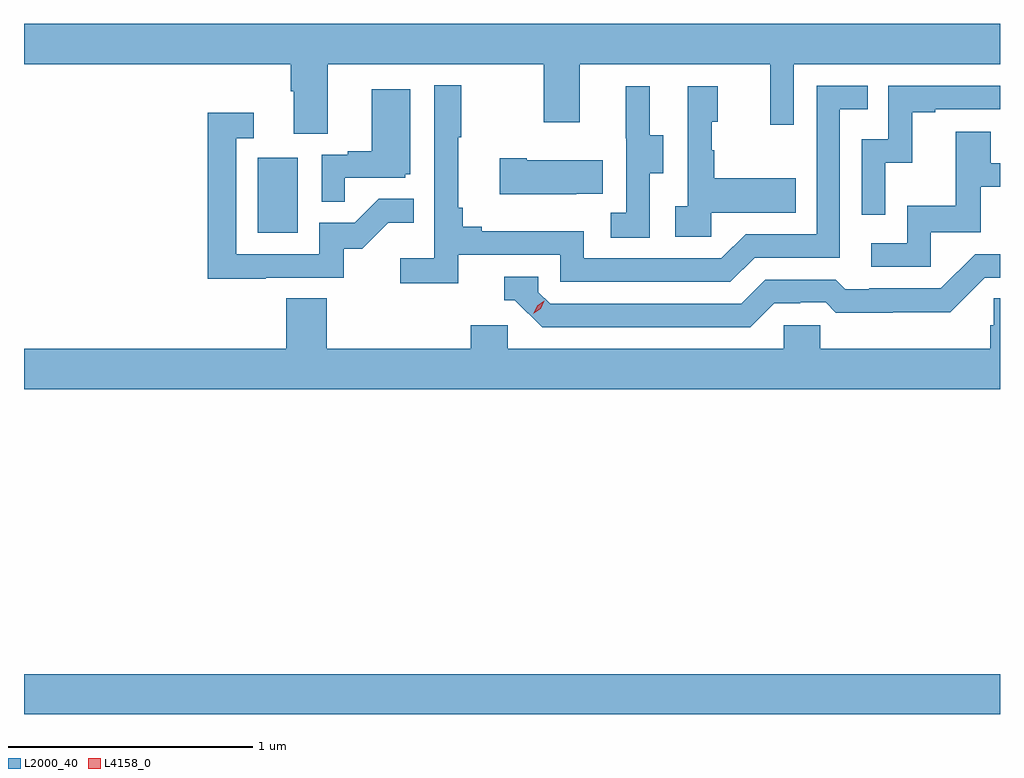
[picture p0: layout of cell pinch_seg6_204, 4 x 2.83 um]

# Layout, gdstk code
import gdstk
lib = gdstk.Library(unit=1e-6, precision=1e-09)
def R(c, l, rs):  # rectangles x0, y0, x1, y1
    for r in rs: c.add(gdstk.rectangle(r[:2], r[2:], *l))
def P(c, l, *ps):  # polygons
    for p in ps: c.add(gdstk.Polygon(p, *l))
L2000_40 = (2000, 40)
L4158_0 = (4158, 0)

pinch_seg6_204 = lib.new_cell('pinch_seg6_204')
R(pinch_seg6_204, L2000_40, [(1052.806,918.032,1056.806,918.196), (1053.764,920.004,1053.928,920.311)])
P(pinch_seg6_204, L2000_40, [(1054.051,920.696),(1054.936,920.696),(1054.936,920.457),(1055.083,920.457),(1055.083,920.696),(1055.864,920.696),(1055.864,920.448),(1055.961,920.448),(1055.961,920.696),(1056.806,920.696),(1056.806,920.86),(1052.806,920.86),(1052.806,920.696),(1053.899,920.696),(1053.899,920.584),(1053.911,920.584),(1053.911,920.41),(1054.051,920.41)],
  [(1054.586,919.914),(1055.004,919.914),(1055.004,919.803),(1055.701,919.803),(1055.8,919.902),(1056.15,919.902),(1056.15,920.511),(1056.263,920.511),(1056.263,920.607),(1056.054,920.607),(1056.054,919.998),(1055.763,919.998),(1055.664,919.899),(1055.1,919.899),(1055.1,920.011),(1054.681,920.011),(1054.681,920.03),(1054.604,920.03),(1054.604,920.107),(1054.585,920.107),(1054.585,920.395),(1054.597,920.395),(1054.597,920.608),(1054.488,920.608),(1054.488,919.9),(1054.347,919.9),(1054.347,919.798),(1054.586,919.798)],
  [(1056.336,920.291),(1056.446,920.291),(1056.446,920.499),(1056.541,920.499),(1056.541,920.511),(1056.806,920.511),(1056.806,920.607),(1056.348,920.607),(1056.348,920.388),(1056.24,920.388),(1056.24,920.079),(1056.336,920.079)],
  [(1055.37,920.248),(1055.425,920.248),(1055.425,920.403),(1055.371,920.403),(1055.371,920.605),(1055.273,920.605),(1055.273,920.391),(1055.274,920.391),(1055.274,920.087),(1055.211,920.087),(1055.211,919.984),(1055.37,919.984)],
  [(1055.622,920.087),(1055.969,920.087),(1055.969,920.227),(1055.635,920.227),(1055.635,920.342),(1055.625,920.342),(1055.625,920.46),(1055.65,920.46),(1055.65,920.605),(1055.526,920.605),(1055.526,920.114),(1055.475,920.114),(1055.475,919.989),(1055.622,919.989)],
  [(1054.121,920.229),(1054.368,920.229),(1054.368,920.244),(1054.39,920.244),(1054.39,920.593),(1054.232,920.593),(1054.232,920.338),(1054.133,920.338),(1054.133,920.325),(1054.026,920.325),(1054.026,920.131),(1054.121,920.131)],
  [(1053.797,919.821),(1054.116,919.821),(1054.116,919.938),(1054.192,919.938),(1054.299,920.045),(1054.403,920.045),(1054.403,920.144),(1054.259,920.144),(1054.161,920.046),(1054.017,920.046),(1054.017,919.917),(1053.675,919.917),(1053.675,920.391),(1053.748,920.391),(1053.748,920.497),(1053.559,920.497),(1053.559,919.816),(1053.797,919.816)],
  [(1056.522,920.007),(1056.727,920.007),(1056.727,920.193),(1056.806,920.193),(1056.806,920.289),(1056.769,920.289),(1056.769,920.419),(1056.625,920.419),(1056.625,920.116),(1056.426,920.116),(1056.426,919.962),(1056.279,919.962),(1056.279,919.866),(1056.522,919.866)],
  [(1055.069,920.165),(1055.177,920.165),(1055.177,920.302),(1054.867,920.302),(1054.867,920.31),(1054.755,920.31),(1054.755,920.162),(1055.069,920.162)],
  [(1055.881,919.716),(1055.988,919.716),(1055.988,919.719),(1056.091,919.719),(1056.133,919.677),(1056.366,919.677),(1056.366,919.679),(1056.602,919.679),(1056.744,919.821),(1056.806,919.821),(1056.806,919.917),(1056.705,919.917),(1056.564,919.776),(1056.271,919.776),(1056.271,919.773),(1056.172,919.773),(1056.133,919.812),(1055.844,919.812),(1055.745,919.713),(1054.962,919.713),(1054.914,919.761),(1054.914,919.824),(1054.775,919.824),(1054.775,919.728),(1054.818,919.728),(1054.929,919.617),(1055.782,919.617)],
  [(1056.806,919.736),(1056.781,919.736),(1056.781,919.626),(1056.767,919.626),(1056.767,919.528),(1056.069,919.528),(1056.069,919.626),(1055.919,919.626),(1055.919,919.528),(1054.788,919.528),(1054.788,919.626),(1054.637,919.626),(1054.637,919.528),(1054.046,919.528),(1054.046,919.736),(1053.881,919.736),(1053.881,919.528),(1052.806,919.528),(1052.806,919.364),(1056.806,919.364)])
P(pinch_seg6_204, L4158_0, [(1054.893,919.673),(1054.893,919.673),(1054.909,919.706),(1054.939,919.726),(1054.939,919.726),(1054.939,919.725),(1054.924,919.693),(1054.894,919.673)])

lib.write_gds('pinch_seg6_204.gds')
